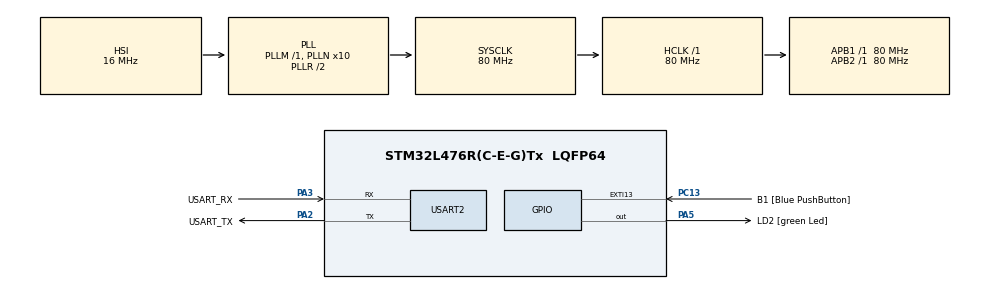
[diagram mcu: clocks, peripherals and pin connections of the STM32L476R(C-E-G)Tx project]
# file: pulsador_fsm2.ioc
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Mcu.Family=STM32L4
Mcu.Name=STM32L476R(C-E-G)Tx
Mcu.Package=LQFP64
NVIC.PriorityGroup=NVIC_PRIORITYGROUP_4
PA13\ (JTMS-SWDIO).GPIO_Label=TMS
PA13\ (JTMS-SWDIO).Mode=Serial_Wire
PA13\ (JTMS-SWDIO).Signal=SYS_JTMS-SWDIO
PA14\ (JTCK-SWCLK).GPIO_Label=TCK
PA14\ (JTCK-SWCLK).Mode=Serial_Wire
PA14\ (JTCK-SWCLK).Signal=SYS_JTCK-SWCLK
PA2.GPIO_Label=USART_TX
PA2.GPIO_Mode=GPIO_MODE_AF_PP
PA2.GPIO_PuPd=GPIO_NOPULL
PA2.GPIO_Speed=GPIO_SPEED_FREQ_VERY_HIGH
PA2.Mode=Asynchronous
PA2.Signal=USART2_TX
PA3.GPIO_Label=USART_RX
PA3.GPIO_Mode=GPIO_MODE_AF_PP
PA3.GPIO_PuPd=GPIO_NOPULL
PA3.GPIO_Speed=GPIO_SPEED_FREQ_VERY_HIGH
PA3.Mode=Asynchronous
PA3.Signal=USART2_RX
PA5.GPIO_Label=LD2 [green Led]
PA5.GPIO_ModeDefaultOutputPP=GPIO_MODE_OUTPUT_PP
PA5.GPIO_PuPd=GPIO_NOPULL
PA5.GPIO_Speed=GPIO_SPEED_FREQ_LOW
PA5.Signal=GPIO_Output
PB3\ (JTDO-TRACESWO).GPIO_Label=SWO
PB3\ (JTDO-TRACESWO).Signal=SYS_JTDO-SWO
PC13.GPIO_Label=B1 [Blue PushButton]
PC13.GPIO_ModeDefaultEXTI=GPIO_MODE_IT_FALLING
PC13.GPIO_PuPd=GPIO_NOPULL
PC13.Signal=GPXTI13
PC14-OSC32_IN\ (PC14).Mode=LSE-External-Oscillator
PC14-OSC32_IN\ (PC14).Signal=RCC_OSC32_IN
PC15-OSC32_OUT\ (PC15).Mode=LSE-External-Oscillator
PC15-OSC32_OUT\ (PC15).Signal=RCC_OSC32_OUT
PH0-OSC_IN\ (PH0).Signal=RCC_OSC_IN
PH1-OSC_OUT\ (PH1).Signal=RCC_OSC_OUT
ProjectManager.HeapSize=0x200
ProjectManager.StackSize=0x400
ProjectManager.TargetToolchain=STM32CubeIDE
RCC.ADCFreq_Value=64000000
RCC.AHBFreq_Value=80000000
RCC.APB1Freq_Value=80000000
RCC.APB1TimFreq_Value=80000000
RCC.APB2Freq_Value=80000000
RCC.APB2TimFreq_Value=80000000
RCC.CortexFreq_Value=80000000
RCC.HCLKFreq_Value=80000000
RCC.HSE_VALUE=8000000
RCC.HSI_VALUE=16000000
RCC.MSI_VALUE=4000000
RCC.PLLN=10
RCC.PLLSourceVirtual=RCC_PLLSOURCE_HSI
RCC.PREFETCH_ENABLE=1
RCC.SYSCLKFreq_VALUE=80000000
RCC.SYSCLKSource=RCC_SYSCLKSOURCE_PLLCLK
RCC.USBFreq_Value=64000000
RCC.VCOOutputFreq_Value=160000000
USART2.VirtualMode-Asynchronous=VM_ASYNC
board=NUCLEO-L476RG

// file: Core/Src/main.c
/* USER CODE BEGIN Header */
/**
  ******************************************************************************
  * @file           : main.c
  * @brief          : Main program body
  ******************************************************************************
  * @attention
  *
  * <h2><center>&copy; Copyright (c) 2020 STMicroelectronics.
  * All rights reserved.</center></h2>
  *
  * This software component is licensed by ST under BSD 3-Clause license,
  * the "License"; You may not use this file except in compliance with the
  * License. You may obtain a copy of the License at:
  *                        opensource.org/licenses/BSD-3-Clause
  *
  ******************************************************************************
  */
/* USER CODE END Header */

#include "main.h"

UART_HandleTypeDef huart2;

void SystemClock_Config(void);
static void MX_GPIO_Init(void);
static void MX_USART2_UART_Init(void);

int main(void)
{

  /* MCU Configuration--------------------------------------------------------*/

  /* Reset of all peripherals, Initializes the Flash interface and the Systick. */
  HAL_Init();

  /* Configure the system clock */
  SystemClock_Config();

  /* Initialize all configured peripherals */
  MX_GPIO_Init();
  MX_USART2_UART_Init();
  /* USER CODE BEGIN 2 */

  current_state = LED_OFF_UP;

  /* USER CODE END 2 */

  /* Infinite loop */
  while (1)
  {

	new_event = get_new_event();

	if ((new_event >= 0) && (new_event < MAX_EVENTS) &&
		(current_state >= 0) && (current_state < MAX_STATES)) {
		state_table[current_state][new_event]();
	}
	else {

	}

  }
}

void SystemClock_Config(void)
{
  RCC_OscInitTypeDef RCC_OscInitStruct = {0};
  RCC_ClkInitTypeDef RCC_ClkInitStruct = {0};
  RCC_PeriphCLKInitTypeDef PeriphClkInit = {0};

  /** Initializes the CPU, AHB and APB busses clocks
  */
  RCC_OscInitStruct.OscillatorType = RCC_OSCILLATORTYPE_HSI;
  RCC_OscInitStruct.HSIState = RCC_HSI_ON;
  RCC_OscInitStruct.HSICalibrationValue = RCC_HSICALIBRATION_DEFAULT;
  RCC_OscInitStruct.PLL.PLLState = RCC_PLL_ON;
  RCC_OscInitStruct.PLL.PLLSource = RCC_PLLSOURCE_HSI;
  RCC_OscInitStruct.PLL.PLLM = 1;
  RCC_OscInitStruct.PLL.PLLN = 10;
  RCC_OscInitStruct.PLL.PLLP = RCC_PLLP_DIV7;
  RCC_OscInitStruct.PLL.PLLQ = RCC_PLLQ_DIV2;
  RCC_OscInitStruct.PLL.PLLR = RCC_PLLR_DIV2;
  if (HAL_RCC_OscConfig(&RCC_OscInitStruct) != HAL_OK)
  {
    Error_Handler();
  }
  /** Initializes the CPU, AHB and APB busses clocks
  */
  RCC_ClkInitStruct.ClockType = RCC_CLOCKTYPE_HCLK|RCC_CLOCKTYPE_SYSCLK
                              |RCC_CLOCKTYPE_PCLK1|RCC_CLOCKTYPE_PCLK2;
  RCC_ClkInitStruct.SYSCLKSource = RCC_SYSCLKSOURCE_PLLCLK;
  RCC_ClkInitStruct.AHBCLKDivider = RCC_SYSCLK_DIV1;
  RCC_ClkInitStruct.APB1CLKDivider = RCC_HCLK_DIV1;
  RCC_ClkInitStruct.APB2CLKDivider = RCC_HCLK_DIV1;

  if (HAL_RCC_ClockConfig(&RCC_ClkInitStruct, FLASH_LATENCY_4) != HAL_OK)
  {
    Error_Handler();
  }
  PeriphClkInit.PeriphClockSelection = RCC_PERIPHCLK_USART2;
  PeriphClkInit.Usart2ClockSelection = RCC_USART2CLKSOURCE_PCLK1;
  if (HAL_RCCEx_PeriphCLKConfig(&PeriphClkInit) != HAL_OK)
  {
    Error_Handler();
  }
  /** Configure the main internal regulator output voltage
  */
  if (HAL_PWREx_ControlVoltageScaling(PWR_REGULATOR_VOLTAGE_SCALE1) != HAL_OK)
  {
    Error_Handler();
  }
}

static void MX_USART2_UART_Init(void)
{

  huart2.Instance = USART2;
  huart2.Init.BaudRate = 115200;
  huart2.Init.WordLength = UART_WORDLENGTH_8B;
  huart2.Init.StopBits = UART_STOPBITS_1;
  huart2.Init.Parity = UART_PARITY_NONE;
  huart2.Init.Mode = UART_MODE_TX_RX;
  huart2.Init.HwFlowCtl = UART_HWCONTROL_NONE;
  huart2.Init.OverSampling = UART_OVERSAMPLING_16;
  huart2.Init.OneBitSampling = UART_ONE_BIT_SAMPLE_DISABLE;
  huart2.AdvancedInit.AdvFeatureInit = UART_ADVFEATURE_NO_INIT;
  if (HAL_UART_Init(&huart2) != HAL_OK)
  {
    Error_Handler();
  }

}

static void MX_GPIO_Init(void)
{
  GPIO_InitTypeDef GPIO_InitStruct = {0};

  /* GPIO Ports Clock Enable */
  __HAL_RCC_GPIOC_CLK_ENABLE();
  __HAL_RCC_GPIOH_CLK_ENABLE();
  __HAL_RCC_GPIOA_CLK_ENABLE();
  __HAL_RCC_GPIOB_CLK_ENABLE();

  /*Configure GPIO pin Output Level */
  HAL_GPIO_WritePin(LD2_GPIO_Port, LD2_Pin, GPIO_PIN_RESET);

  /*Configure GPIO pin : B1_Pin */
  GPIO_InitStruct.Pin = B1_Pin;
  GPIO_InitStruct.Mode = GPIO_MODE_IT_FALLING;
  GPIO_InitStruct.Pull = GPIO_NOPULL;
  HAL_GPIO_Init(B1_GPIO_Port, &GPIO_InitStruct);

  /*Configure GPIO pin : LD2_Pin */
  GPIO_InitStruct.Pin = LD2_Pin;
  GPIO_InitStruct.Mode = GPIO_MODE_OUTPUT_PP;
  GPIO_InitStruct.Pull = GPIO_NOPULL;
  GPIO_InitStruct.Speed = GPIO_SPEED_FREQ_LOW;
  HAL_GPIO_Init(LD2_GPIO_Port, &GPIO_InitStruct);

}

/* USER CODE BEGIN 4 */

transition state_table[MAX_STATES][MAX_EVENTS] = {
	{pb_up_off_up,		pb_down_off_up},	// LED_OFF_UP
	{pb_up_off_down,	pb_down_off_down},	// LED_OFF_DOWN
	{pb_up_on_up,		pb_down_on_up},		// LED_ON_UP
	{pb_up_on_down,		pb_down_on_down}	// LED_ON_DOWN

};

void pb_up_off_up(void) {
	set_output(current_state);
	current_state = LED_OFF_UP;
}

void pb_down_off_up(void) {
	set_output(current_state);
	current_state = LED_OFF_DOWN;
}

void pb_up_off_down(void) {
	set_output(current_state);
	current_state = LED_ON_UP;
}

void pb_down_off_down(void) {
	set_output(current_state);
	current_state = LED_OFF_DOWN;
}

void pb_up_on_up(void) {
	set_output(current_state);
	current_state = LED_ON_UP;
}

void pb_down_on_up(void) {
	set_output(current_state);
	current_state = LED_ON_DOWN;
}

void pb_up_on_down(void) {
	set_output(current_state);
	current_state = LED_OFF_UP;
}

void pb_down_on_down(void) {
	set_output(current_state);
	current_state = LED_ON_DOWN;
}

uint8_t get_new_event(void) {
	if (!HAL_GPIO_ReadPin(B1_GPIO_Port, B1_Pin)) {
		return PB_DOWN;
	}
	else {
		return PB_UP;
	}
}

void set_output(uint8_t current_state) {
	switch (current_state) {
		case LED_ON_UP:
		case LED_ON_DOWN:
			HAL_GPIO_WritePin(LD2_GPIO_Port, LD2_Pin, SET);
			break;
		case LED_OFF_UP:
		case LED_OFF_DOWN:
			HAL_GPIO_WritePin(LD2_GPIO_Port, LD2_Pin, RESET);
			break;
	}
}

/* USER CODE END 4 */

void Error_Handler(void)
{
}

/************************ (C) COPYRIGHT STMicroelectronics *****END OF FILE****/
